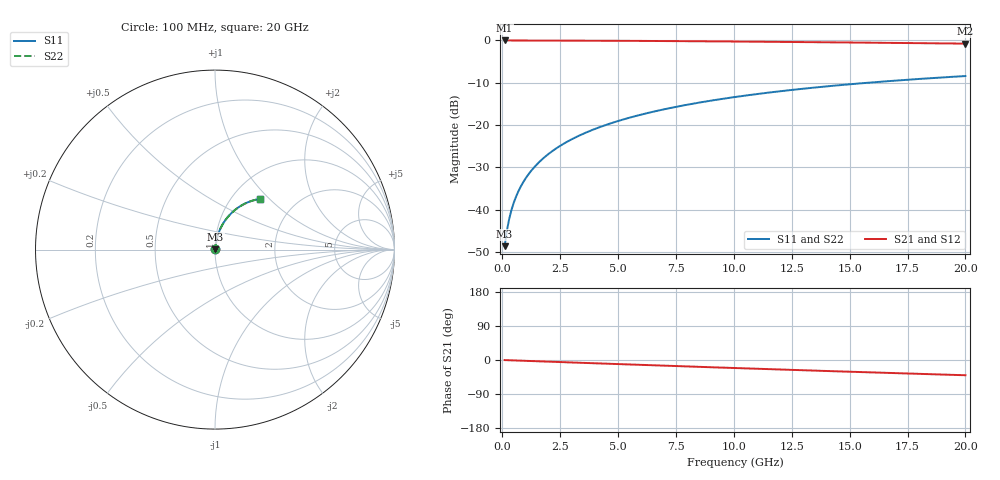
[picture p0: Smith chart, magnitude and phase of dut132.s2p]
! Touchstone file exported from HFSS 2026.1.0
!  File:  C:/ffzhzh/LocalFiles/Ansys_Project_Files/temp_train_TMRDL_132_1782982799_6248.aedt
!  Generated:  05:01:11 PM Jul  2, 2026
!  Design:  TMRDL
!  Project:  temp_train_TMRDL_132_1782982799_6248
! Variables:
!  h_bsmrdl = 2um
!  h_ox = 20um
!  h_rdl = 5um
!  h_sub = 80um
!  h_tmrdl = 3.69um
!  h_tsv = 80um
!  h_via = 3um
!  l_bsmrdl = 300um
!  l_sub = 974.25um
!  l_tmrdl = 574.25um
!  m_sub = 200um
!  pitch = 49.55um
!  r_tsv = 6um
!  s_tmrdl = 10um
!  w_bsmrdl = 18um
!  w_sub = 500um
!  w_tmrdl = 21.46um
!  x_tsv_center1 = 584.98um
!  x_tsv_center2 = 902.98um
!  x_tsv_center3 = 1498.69um
!  x_tsv_center4 = 1816.69um
!  x_tsv_center5 = 2412.4um
!  x_tsv_center6 = 2730.4um
# GHz S MA R 50.000000
! Terminal data exported
! Port[1] = TM_RDL1_1_T1
! Port[2] = TM_RDL1_1_T2
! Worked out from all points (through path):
!   200 points, 100 MHz to 20 GHz, reference 50 ohm
!   highest |S21| = -0.02 dB at 100 MHz (marker M1); lowest = -0.8 dB at 20 GHz (marker M2)
!   group delay of S21, straight-line fit = 5.59 ps
!   lowest |S11| = -48.6 dB at 100 MHz (marker M3), VSWR 1.01, Z = 50.3 + j0.248 ohm
!   |S11| at or under -10 dB: start of sweep to 15.82 GHz
!   |S22| runs from -48.6 to -8.4 dB; largest |S21 - S12| = 3.6e-15
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0.1  0.003705 41.7  0.9972 -0.2  0.9972 -0.2  0.003705 41.7
! Gamma 0 0 0 0
! Port Impedance 50 0 50 0
0.2  0.005673 59.0  0.9971 -0.5  0.9971 -0.5  0.005673 59.0
0.3  0.007826 66.6  0.9969 -0.7  0.9969 -0.7  0.007827 66.6
0.4  0.01001 70.8  0.9968 -0.9  0.9968 -0.9  0.01001 70.8
0.5  0.0122 73.5  0.9967 -1.1  0.9967 -1.1  0.0122 73.5
0.6  0.01439 75.3  0.9966 -1.3  0.9966 -1.3  0.01439 75.3
0.8  0.0188 77.7  0.9964 -1.8  0.9964 -1.8  0.0188 77.7
1.1  0.02547 79.6  0.9962 -2.4  0.9962 -2.4  0.02547 79.6
1.5  0.03441 80.6  0.9958 -3.3  0.9958 -3.3  0.03441 80.6
1.8  0.04112 80.8  0.9954 -3.9  0.9954 -3.9  0.04112 80.8
2.1  0.04783 80.8  0.995 -4.6  0.995 -4.6  0.04783 80.8
2.7  0.06121 80.3  0.994 -5.9  0.994 -5.9  0.06121 80.3
3.5  0.07891 79.1  0.9924 -7.6  0.9924 -7.6  0.07891 79.1
4.2  0.09422 78.0  0.9907 -9.1  0.9907 -9.1  0.09423 77.9
5  0.1115 76.5  0.9884 -10.8  0.9884 -10.8  0.1115 76.5
5.9  0.1306 74.8  0.9856 -12.7  0.9856 -12.7  0.1306 74.8
6.8  0.1494 73.0  0.9824 -14.6  0.9824 -14.6  0.1494 73.0
8.3  0.1799 70.1  0.9766 -17.7  0.9766 -17.7  0.1799 70.1
10.1  0.2151 66.6  0.9687 -21.3  0.9687 -21.3  0.2151 66.6
13.4  0.2755 60.3  0.9523 -27.9  0.9523 -27.9  0.2755 60.3
16.7  0.3302 54.2  0.9341 -34.2  0.9341 -34.2  0.3302 54.1
20  0.3787 48.3  0.9153 -40.2  0.9153 -40.2  0.3787 48.2
